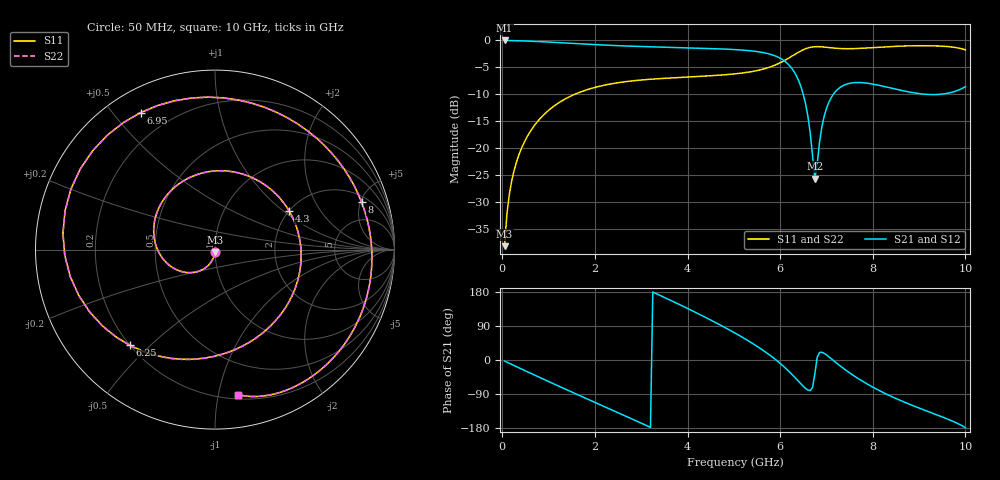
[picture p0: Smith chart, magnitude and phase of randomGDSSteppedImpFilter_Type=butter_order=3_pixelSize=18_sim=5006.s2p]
! freq	dB(S11)	phase(S11)	dB(S12)	phase(S12)
!  dB(S21)	phase(S21)	dB(S22)	phase(S22)
!S-par simulation data
#  GHz  S  DB  R 50
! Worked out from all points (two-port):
!   200 points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, 50 MHz to 10 GHz, reference 50 ohm
!   highest |S21| = 0.00 dB at 50 MHz (marker M1); lowest = -25.6 dB at 6.75 GHz (marker M2)
!   |S21| within 3 dB of the highest: start of sweep to 5.931 GHz
!   lowest |S11| = -38.1 dB at 50 MHz (marker M3), VSWR 1.03, Z = 49.9 - j1.24 ohm
!   |S11| at or under -10 dB: start of sweep to 1.557 GHz
!   |S22| runs from -38.1 to -1.0 dB; largest |S21 - S12| = 0
!   S11 on the Smith chart (normalised r, x): 50 MHz: 1.00, -0.02; 4.3 GHz: 2.00, +1.10; 6.25 GHz: 0.20, -0.43; 6.95 GHz: 0.09, +0.59; 8 GHz: 2.55, +5.11; 10 GHz: 0.23, -1.14
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0.05  -38.09 -92.5  -0.00 -2.9  -0.00 -2.9  -38.09 -92.5
0.1  -32.10 -95.6  -0.01 -5.8  -0.01 -5.8  -32.10 -95.6
0.2  -26.15 -101.6  -0.03 -11.5  -0.03 -11.5  -26.15 -101.6
0.5  -18.41 -119.2  -0.10 -28.7  -0.10 -28.7  -18.41 -119.1
1.15  -11.94 -155.9  -0.37 -65.2  -0.37 -65.2  -11.94 -155.8
1.75  -9.35 171.0  -0.66 -98.1  -0.66 -98.1  -9.35 171.2
2.65  -7.65 121.9  -1.02 -147.2  -1.02 -147.2  -7.65 122.2
3.4  -7.07 80.2  -1.23 170.9  -1.23 170.9  -7.07 80.5
4.3  -6.64 27.5  -1.44 117.9  -1.44 117.9  -6.64 28.0
5.05  -6.16 -20.6  -1.71 69.4  -1.71 69.4  -6.16 -20.1
5.75  -5.02 -75.5  -2.47 15.3  -2.47 15.3  -5.01 -74.9
6.25  -2.93 -131.7  -5.16 -37.4  -5.16 -37.4  -2.93 -131.2
6.55  -1.54 -177.9  -11.79 -75.1  -11.79 -75.1  -1.54 -177.5
6.7  -1.20 157.1  -21.46 -72.4  -21.46 -72.4  -1.21 157.4
6.75  -1.16 149.0  -25.56 -35.9  -25.56 -35.9  -1.16 149.2
6.95  -1.22 118.5  -14.06 17.7  -14.06 17.7  -1.22 118.6
7.15  -1.41 92.6  -9.94 -1.3  -9.94 -1.3  -1.41 92.6
7.45  -1.53 61.1  -8.05 -29.7  -8.05 -29.7  -1.54 61.1
8  -1.33 17.9  -8.08 -71.6  -8.08 -71.6  -1.33 17.8
8.35  -1.15 -3.7  -8.72 -93.2  -8.72 -93.2  -1.15 -3.8
9.25  -0.99 -48.0  -10.02 -138.5  -10.02 -138.5  -0.99 -48.1
10  -1.74 -80.9  -8.58 -178.3  -8.58 -178.3  -1.75 -81.0
